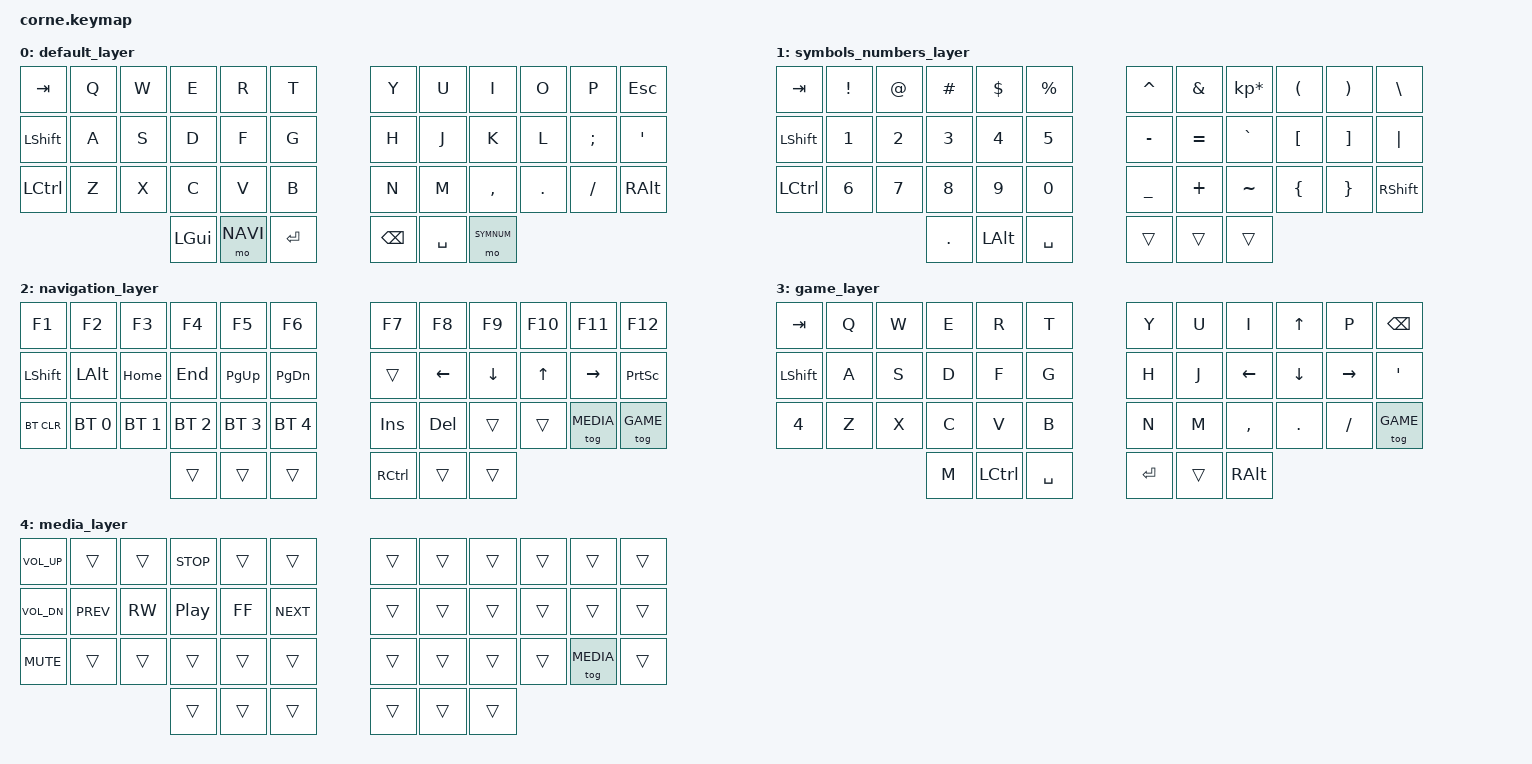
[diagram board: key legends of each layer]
/*
 * Copyright (c) 2020 The ZMK Contributors
 *
 * SPDX-License-Identifier: MIT
 */

#include <behaviors.dtsi>
#include <dt-bindings/zmk/keys.h>
#include <dt-bindings/zmk/bt.h>

// Layers 
#define DEFAULT 0

// Momentary Layers
#define SYMNUM  1
#define NAVI    2

// Toggle Layers
#define GAME    3
#define MEDIA   4

/ {
        keymap {
                compatible = "zmk,keymap";

                default_layer {
                        bindings = <
// _______________________________________________________________                ______________________________________________________________
// |    TAB    |    Q    |    W    |    E    |    R    |    T    |                |    Y    |    U    |    I    |    O    |    P    |    ESC   |
      &kp TAB    &kp Q     &kp W     &kp E     &kp R     &kp T                      &kp Y     &kp U     &kp I     &kp O     &kp P    &kp ESC
// _______________________________________________________________                ______________________________________________________________
// |    SHFT   |    A    |    S    |    D    |    F    |    G    |                |    H    |    J    |    K    |    L    |  ; (:)  |   ' (")  |
      &kp LSHFT  &kp A     &kp S     &kp D     &kp F     &kp G                      &kp H     &kp J     &kp K     &kp L    &kp SEMI   &kp SQT
// _______________________________________________________________                ______________________________________________________________
// |    CTRL   |    Z    |    X    |    C    |    V    |    B    |                |    N    |    M    |   , (<) |   . (>) |  / (?)  |   ALT    |
     &kp LCTRL   &kp Z     &kp X     &kp C     &kp V     &kp B                      &kp N     &kp M    &kp COMMA  &kp DOT   &kp FSLH  &kp RALT
// _______________________________________________________________                ______________________________________________________________
//               (GUI is windows)->|   GUI   |   NAVI  |   ENT   |                |  BKSP   |   SPC   |  SYMNUM  | 
                                    &kp LGUI  &mo NAVI   &kp RET                   &kp BSPC  &kp SPACE &mo SYMNUM
//                                 _______________________________                _______________________________
                        >;
                };
                
                symbols_numbers_layer {
                        bindings = <
// _______________________________________________________________                ______________________________________________________________
// |    TAB    |    !    |    @    |    #    |    $    |    %    |                |    ^    |    &    |    *    |    (    |    )    |     \    |
      &kp TAB    &kp EXCL  &kp AT    &kp HASH  &kp DLLR &kp PRCNT                  &kp CARET  &kp AMPS  &kp KP_MULTIPLY &kp LPAR &kp RPAR &kp BSLH
// _______________________________________________________________                ______________________________________________________________
// |   SHFT    |    1    |    2    |    3    |    4    |    5    |                |  - (_)  |  = (+)  |  ` (~)  |   [ ({) |  ] (})  |   "|"    |
     &kp LSHFT   &kp N1    &kp N2    &kp N3    &kp N4    &kp N5                    &kp MINUS &kp EQUAL &kp GRAVE  &kp LBKT  &kp RBKT  &kp PIPE
// _______________________________________________________________                ______________________________________________________________
// |    CTRL   |    6    |    7    |    8    |    9    |    0    |                |    _    |    +    |    ~    |    {    |    }    |   RSHFT  |
     &kp LCTRL   &kp N6    &kp N7    &kp N8    &kp N9    &kp N0                    &kp UNDER  &kp PLUS &kp TILDE  &kp LBRC  &kp RBRC  &kp RSHFT
// _______________________________________________________________                ______________________________________________________________
//                                 |    .    |   ALT   |   SPC   |                |         |         |         |
                                    &kp DOT  &kp LALT  &kp SPACE                    &trans    &trans    &trans
//                                 _______________________________                _______________________________
                        >;
                };

                navigation_layer {
                        bindings = <
// _______________________________________________________________                ______________________________________________________________
// |     F1    |    F2   |    F3   |    F4   |    F5   |    F6   |                |    F7   |    F8   |    F9   |   F10   |   F11   |    F12   |
      &kp F1     &kp F2    &kp F3    &kp F4    &kp F5    &kp F6                     &kp F7    &kp F8    &kp F9    &kp F10   &kp F11    &kp F12
// _______________________________________________________________                ______________________________________________________________
// |    SHFT   |   ALT   |   HOME  |   END   |   PGUP  |  PGDWN  |                |         |   LFT   |   DWN   |    UP   |   RGT   | PRNT SCN |
     &kp LSHFT  &kp LALT  &kp HOME   &kp END  &kp PG_UP &kp PG_DN                   &trans  &kp LEFT  &kp DOWN    &kp UP  &kp RIGHT   &kp PSCRN
// _______________________________________________________________                ______________________________________________________________
// |   BTCLR   |   BT1   |   BT2   |   BT3   |   BT4   |   BT5   |                |  INSRT  |   DEL   |         |         | TG MEDIA| TG GAME  |
   &bt BT_CLR  &bt BT_SEL 0 &bt BT_SEL 1 &bt BT_SEL 2 &bt BT_SEL 3 &bt BT_SEL 4     &kp INS   &kp DEL    &trans    &trans &tog MEDIA  &tog GAME
// _______________________________________________________________                ______________________________________________________________
//                                 |         |         |         |                |   CTRL  |         |         |
                                      &trans    &trans   &trans                    &kp RCTRL   &trans    &trans
//                                 _______________________________                _______________________________
                        >;
                };
                
                game_layer {
                        bindings = <
// _______________________________________________________________                ______________________________________________________________
// |    TAB    |    Q    |    W    |    E    |    R    |    T    |                |    Y    |    U    |    I    |   UP    |    P    |   BKSP   |
      &kp TAB    &kp Q     &kp W     &kp E     &kp R     &kp T                      &kp Y     &kp U      &kp I    &kp UP     &kp P    &kp BSPC
// _______________________________________________________________                ______________________________________________________________
// |    SHFT   |    A    |    S    |    D    |    F    |    G    |                |    H    |    J    |   LFT   |   DWN   |   RGT   |   ' (")  |
      &kp LSHFT  &kp A     &kp S     &kp D     &kp F     &kp G                      &kp H       &kp J  &kp LEFT  &kp DOWN  &kp RIGHT  &kp SQT
// _______________________________________________________________                ______________________________________________________________
// |     4     |    Z    |    X    |    C    |    V    |    B    |                |    N    |    M    |   , (<) |   . (>) |  / (?)  | Tog Game |
       &kp N4     &kp Z     &kp X     &kp C     &kp V     &kp B                      &kp N     &kp M    &kp COMMA  &kp DOT   &kp FSLH  &tog GAME
// _______________________________________________________________                ______________________________________________________________
//                                 |    M    |   CTRL  |   SPC   |                |   ENT   |         |   ALT   |
                                      &kp M   &kp LCTRL &kp SPACE                   &kp RET    &trans   &kp RALT
//                                 _______________________________                _______________________________
                        >;
                };
                
                media_layer {
                        bindings = <
// _______________________________________________________________                ______________________________________________________________
// |   VOL UP  |         |         |   STOP  |         |         |                |         |         |         |         |         |          |
    &kp C_VOL_UP  &trans    &trans  &kp C_STOP  &trans    &trans                    &trans     &trans    &trans    &trans    &trans    &trans
// _______________________________________________________________                ______________________________________________________________
// |  VOL DWN  |   PREV  |   RWND  | PLY/PSE | FST FRWD|   NEXT  |                |         |         |         |         |         |          |
   &kp C_VOL_DN &kp C_PREV &kp C_RW  &kp C_PP &kp C_FF  &kp C_NEXT                  &trans     &trans    &trans    &trans    &trans    &trans
// _______________________________________________________________                ______________________________________________________________
// |    MUTE   |         |         |         |         |         |                |         |         |         |         | TG MEDIA|          |
     &kp C_MUTE   &trans    &trans    &trans    &trans    &trans                    &trans     &trans   &trans    &trans   &tog MEDIA  &trans
// _______________________________________________________________                ______________________________________________________________
//                                 |         |         |         |                |         |         |         |
                                      &trans    &trans    &trans                    &trans    &trans    &trans
//                                 _______________________________                _______________________________
                        >;
                };
        };
};
